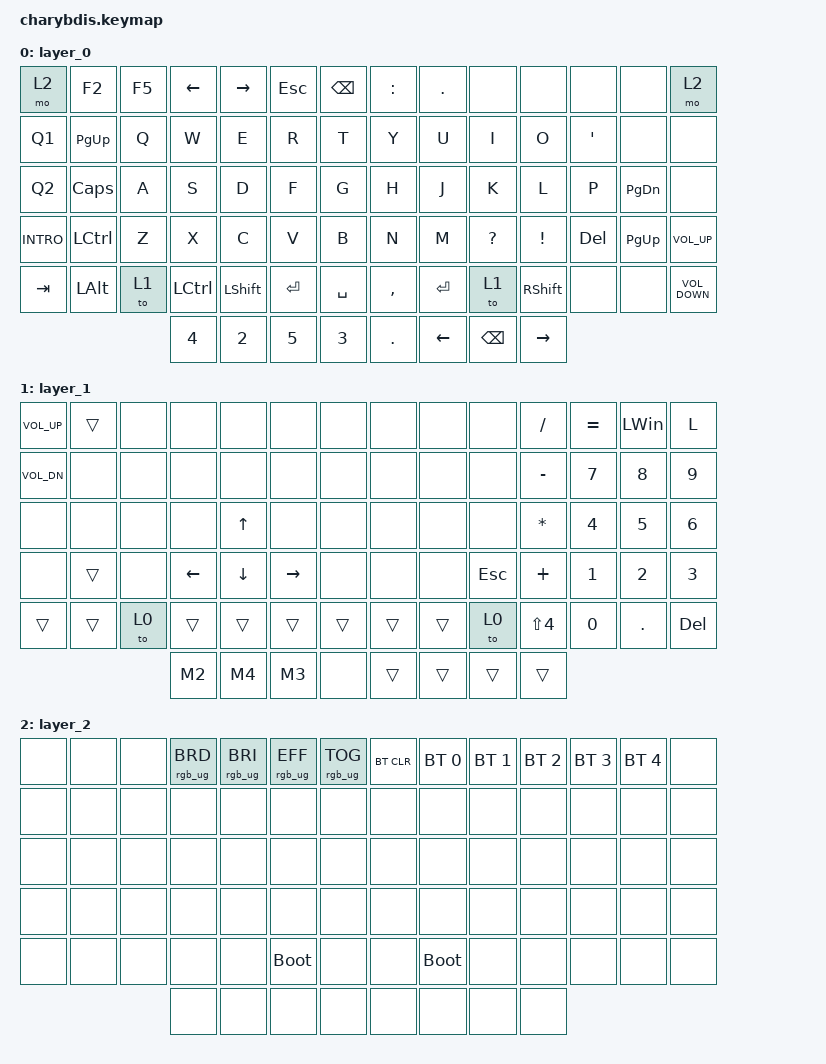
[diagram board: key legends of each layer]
#include <behaviors.dtsi>
#include <dt-bindings/zmk/bt.h>
#include <dt-bindings/zmk/keys.h>
#include <dt-bindings/zmk/rgb.h>

/ {
    macros {
        M2: M1 {
            compatible = "zmk,behavior-macro";
            #binding-cells = <0>;
            bindings =
                <&kp T>,
                <&macro_wait_time 50>,
                <&kp NUMBER_2>,
                <&macro_wait_time 50>,
                <&kp ENTER>,
                <&macro_wait_time 50>,
                <&kp T>,
                <&macro_wait_time 50>,
                <&kp NUMBER_3>,
                <&macro_wait_time 50>,
                <&kp ENTER>,
                <&macro_wait_time 50>,
                <&kp S>,
                <&macro_wait_time 50>,
                <&kp NUMBER_2>,
                <&macro_wait_time 50>,
                <&kp ENTER>;

            label = "M1";
        };

        M3: M3 {
            compatible = "zmk,behavior-macro";
            #binding-cells = <0>;
            bindings =
                <&kp S>,
                <&macro_wait_time 50>,
                <&kp NUMBER_2>,
                <&macro_wait_time 50>,
                <&kp ENTER>,
                <&macro_wait_time 50>,
                <&kp P>,
                <&macro_wait_time 50>,
                <&kp NUMBER_2>,
                <&macro_wait_time 50>,
                <&kp ENTER>;

            label = "M3";
        };

        M4: M4 {
            compatible = "zmk,behavior-macro";
            #binding-cells = <0>;
            bindings =
                <&kp W>,
                <&macro_wait_time 50>,
                <&kp NUMBER_3>,
                <&macro_wait_time 50>,
                <&kp ENTER>,
                <&macro_wait_time 50>,
                <&kp T>,
                <&macro_wait_time 50>,
                <&kp NUMBER_2>,
                <&macro_wait_time 50>,
                <&kp ENTER>,
                <&macro_wait_time 50>,
                <&kp A>,
                <&macro_wait_time 50>,
                <&kp NUMBER_2>,
                <&macro_wait_time 50>,
                <&kp ENTER>;

            label = "M4";
        };

        INTRO: INTRO {
            compatible = "zmk,behavior-macro";
            #binding-cells = <0>;
            bindings =
                <&kp W>,
                <&macro_wait_time 50>,
                <&kp NUMBER_2>,
                <&macro_wait_time 50>,
                <&kp ENTER>,
                <&macro_wait_time 50>,
                <&kp E>,
                <&macro_wait_time 50>,
                <&kp NUMBER_2>,
                <&macro_wait_time 50>,
                <&kp ENTER>,
                <&macro_wait_time 50>,
                <&kp R>,
                <&macro_wait_time 50>,
                <&kp NUMBER_2>,
                <&macro_wait_time 50>,
                <&kp ENTER>,
                <&macro_wait_time 50>,
                <&kp W>,
                <&macro_wait_time 50>,
                <&kp NUMBER_3>,
                <&macro_wait_time 50>,
                <&kp ENTER>,
                <&macro_wait_time 50>,
                <&kp T>,
                <&macro_wait_time 50>,
                <&kp NUMBER_2>,
                <&macro_wait_time 50>,
                <&kp ENTER>,
                <&macro_wait_time 50>,
                <&kp A>,
                <&macro_wait_time 50>,
                <&kp NUMBER_2>,
                <&macro_wait_time 50>,
                <&kp ENTER>;

            label = "INTRO";
        };

        Q1: Q1 {
            compatible = "zmk,behavior-macro";
            #binding-cells = <0>;
            bindings =
                <&kp Q>,
                <&macro_wait_time 30>,
                <&kp NUMBER_2>,
                <&macro_wait_time 30>,
                <&kp ENTER>;

            label = "Q1";
        };

        Q2: Q2 {
            compatible = "zmk,behavior-macro";
            #binding-cells = <0>;
            bindings =
                <&kp Q>,
                <&macro_wait_time 30>,
                <&kp N5>,
                <&macro_wait_time 30>,
                <&kp ENTER>;

            label = "Q2";
        };
    };

    keymap {
        compatible = "zmk,keymap";

        layer_0 {
            bindings = <
&mo 2    &kp F2        &kp F5  &kp LEFT   &kp RIGHT       &kp ESCAPE  &kp BACKSPACE    &kp COLON  &kp PERIOD  &none          &none            &none             &none          &mo 2
&Q1      &kp PAGE_UP   &kp Q   &kp W      &kp E           &kp R       &kp T            &kp Y      &kp U       &kp I          &kp O            &kp SINGLE_QUOTE  &none          &none
&Q2      &kp CAPSLOCK  &kp A   &kp S      &kp D           &kp F       &kp G            &kp H      &kp J       &kp K          &kp L            &kp P             &kp PAGE_DOWN  &none
&INTRO   &kp LCTRL     &kp Z   &kp X      &kp C           &kp V       &kp B            &kp N      &kp M       &kp QUESTION   &kp EXCLAMATION  &kp DELETE        &kp PAGE_UP    &kp C_VOLUME_UP
&kp TAB  &kp LEFT_ALT  &to 1   &kp LCTRL  &kp LEFT_SHIFT  &kp ENTER   &kp SPACE        &kp COMMA  &kp ENTER   &to 1          &kp RIGHT_SHIFT  &none             &none          &kp C_VOLUME_DOWN
                               &kp N4     &kp N2          &kp N5      &kp N3           &kp DOT    &kp LEFT    &kp BACKSPACE  &kp RIGHT
            >;
        };

        layer_1 {
            bindings = <
&kp C_VOLUME_UP  &trans  &none  &none           &none           &none            &none     &none   &none   &none       &kp SLASH         &kp EQUAL  &kp LEFT_WIN  &kp L
&kp C_VOL_DN     &none   &none  &none           &none           &none            &none     &none   &none   &none       &kp MINUS         &kp N7     &kp N8        &kp N9
&none            &none   &none  &none           &kp UP_ARROW    &none            &none     &none   &none   &none       &kp ASTERISK      &kp N4     &kp N5        &kp N6
&none            &trans  &none  &kp LEFT_ARROW  &kp DOWN_ARROW  &kp RIGHT_ARROW  &none     &none   &none   &kp ESCAPE  &kp PLUS          &kp N1     &kp N2        &kp N3
&trans           &trans  &to 0  &trans          &trans          &trans           &trans    &trans  &trans  &to 0       &kp LS(NUMBER_4)  &kp N0     &kp PERIOD    &kp DEL
                                &M2             &M4             &M3              &none     &trans  &trans  &trans      &trans
            >;
        };

        layer_2 {
            bindings = <
&none  &none  &none  &rgb_ug RGB_BRD  &rgb_ug RGB_BRI  &rgb_ug RGB_EFF  &rgb_ug RGB_TOG    &bt BT_CLR  &bt BT_SEL 0  &bt BT_SEL 1  &bt BT_SEL 2  &bt BT_SEL 3  &bt BT_SEL 4  &none
&none  &none  &none  &none            &none            &none            &none              &none       &none         &none         &none         &none         &none         &none
&none  &none  &none  &none            &none            &none            &none              &none       &none         &none         &none         &none         &none         &none
&none  &none  &none  &none            &none            &none            &none              &none       &none         &none         &none         &none         &none         &none
&none  &none  &none  &none            &none            &bootloader      &none              &none       &bootloader   &none         &none         &none         &none         &none
                     &none            &none            &none            &none              &none       &none         &none         &none
            >;
        };

        /*  layer_3 {
            bindings = <
&none  &none  &none  &none  &none  &none  &none    &none  &none  &none   &kp FSLH  &kp ASTERISK  &none  &none
&none  &none  &none  &none  &none  &none  &none    &none  &none  &kp N7  &kp N8    &kp N9        &none  &none
&none  &none  &none  &none  &none  &none  &none    &none  &none  &kp N4  &kp N5    &kp N6        &none  &none
&none  &none  &none  &none  &none  &none  &to 0    &to 3  &none  &kp N1  &kp N2    &kp N3        &none  &none
&none  &none  &none  &none  &none  &none  &to 1    &none  &none  &none   &kp N0    &none         &none  &none
                                   &none  &to 2    &none  &none
            >;
        };

        layer_2 {
            bindings = <
&none  &none   &none    &none   &none         &none         &kp N1         &none         &none     &none  &none   &to 0
&none  &none   &none    &none   &none         &none         &none         &none          &rgb_ug RGB_BRD &rgb_ug RGB_BRI  &rgb_ug RGB_EFF   &rgb_ug RGB_TOG
&none  &none   &none    &none   &none         &none         &none         &mkp LCLK     &mkp RCLK  &none  &none   &none
&none  &none   &none    &none   &bt BT_NXT  &bt BT_CLR    &none         &none         &none     &none  &none   &none
                                   &none         &none         &none         &none         &none
                                                 &none         &none         &none
            >;
          trackball-bindings = <&tsl>;
            
        };

       Mouse {
            bindings = <
&none        &none         &none         &none         &none      &none         &none       &none      &none         &none         &none         &none
&none        &bt BT_SEL 0  &bt BT_SEL 1  &bt BT_SEL 3  &none      &bt BT_CLR    &bt BT_CLR  &none      &bt BT_SEL 2  &bt BT_SEL 1  &bt BT_SEL 0  &none
&none        &trans        &trans        &mkp MCLK     &trans     &none         &none       &trans     &mkp MCLK     &trans        &trans        &none
&bootloader  &trans        &mkp RCLK     &mo 4         &mkp LCLK  &mo 5         &mo 5       &mkp LCLK  &mo 4         &mkp RCLK     &trans        &bootloader
                                         &mo 5         &mkp LCLK  &mkp RCLK     &mkp RCLK   &mkp LCLK
                                                       &none      &trans        &trans
            >;

            
        };

        layer_4 {
            bindings = <
&trans  &trans  &trans     &trans     &trans     &trans       &trans     &trans     &trans     &trans     &trans  &trans
&trans  &trans  &trans     &trans     &trans     &trans       &trans     &trans     &trans     &trans     &trans  &trans
&trans  &trans  &trans     &mkp MCLK  &trans     &trans       &trans     &trans     &mkp MCLK  &trans     &trans  &trans
&trans  &trans  &mkp RCLK  &trans     &mkp LCLK  &trans       &trans     &mkp LCLK  &trans     &mkp RCLK  &trans  &trans
                           &trans     &mkp LCLK  &mkp RCLK    &mkp RCLK  &mkp LCLK
                                      &trans     &trans       &trans
            >;
                
                
                trackball-bindings = <&tsl>;
        };

        layer_5 {
            bindings = <
&trans  &trans  &trans     &trans     &trans     &trans       &trans     &trans     &trans     &trans     &trans  &trans
&trans  &trans  &trans     &trans     &trans     &trans       &trans     &trans     &trans     &trans     &trans  &trans
&trans  &trans  &trans     &mkp MCLK  &trans     &trans       &trans     &trans     &mkp MCLK  &trans     &trans  &trans
&trans  &trans  &mkp RCLK  &trans     &mkp LCLK  &trans       &trans     &mkp LCLK  &trans     &mkp RCLK  &trans  &trans
                           &trans     &mkp LCLK  &mkp RCLK    &mkp RCLK  &mkp LCLK
                                      &trans     &trans       &trans
            >;
                trackball-bindings = <&tmv_fine>;
                
        };*/
    };
};
